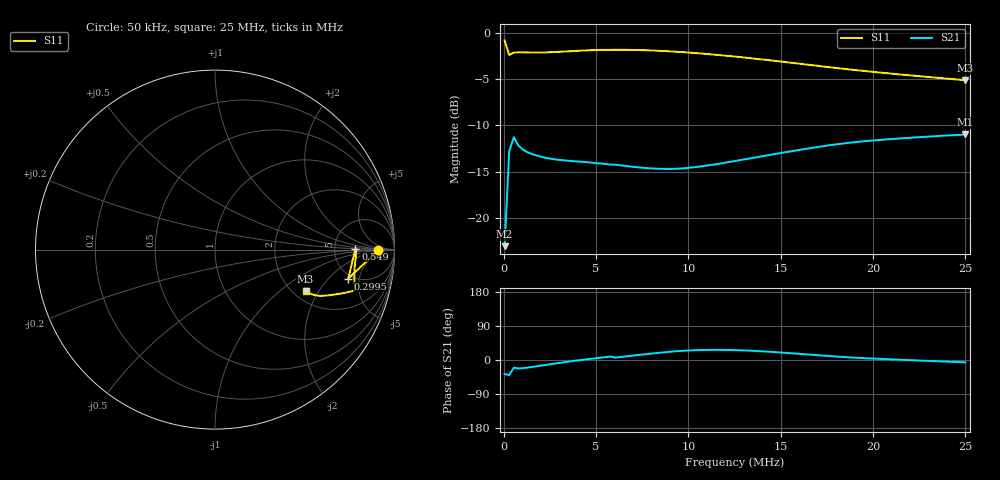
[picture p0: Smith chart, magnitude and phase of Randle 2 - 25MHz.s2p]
# Hz S RI R 50
!  Frequency  S11_Real  S11_Imag  S21_Real  S21_Imag  S12_Real  S12_Imag  S22_Real  S22_Imag
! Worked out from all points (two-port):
!   101 points, 50 kHz to 25 MHz, reference 50 ohm
!   highest |S21| = -10.99 dB at 25 MHz (marker M1); lowest = -23.1 dB at 50 kHz (marker M2)
!   |S21| within 3 dB of the highest: 270.6 kHz to 4.525 MHz (4.254 MHz wide, 177 % of centre); 12.14 MHz to end of sweep
!   lowest |S11| = -5.1 dB at 25 MHz (marker M3), VSWR 3.50, Z = 116 - j77.6 ohm
!   |S11| at or under -10 dB: nowhere
!   S12 and S22 are empty: the file has one direction only
!   S11 on the Smith chart (normalised r, x): 50 kHz: 21, -1; 299.5 kHz: 4.58, -3.50; 549 kHz: 8.20, +0.23; 25 MHz: 2.31, -1.55
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50000  0.9108 -0.00264  0.056 -0.0423  0 0  0 0
299500  0.7426 -0.1612  0.1762 -0.1464  0 0  0 0
549000  0.7826 0.00535  0.2561 -0.0941  0 0  0 0
798500  0.7861 -0.00373  0.2275 -0.0933  0 0  0 0
1048000  0.785 -0.0248  0.2172 -0.0852  0 0  0 0
1547000  0.7818 -0.0641  0.2096 -0.0694  0 0  0 0
2295500  0.7767 -0.1138  0.2054 -0.0472  0 0  0 0
2794500  0.7765 -0.1415  0.2042 -0.0335  0 0  0 0
3792500  0.7775 -0.182  0.2021 -0.00873  0 0  0 0
4291500  0.7792 -0.1955  0.2006 0.00225  0 0  0 0
5788500  0.7797 -0.2203  0.1916 0.0307  0 0  0 0
6038000  0.7799 -0.2217  0.1925 0.0214  0 0  0 0
7285500  0.7754 -0.2284  0.1825 0.0426  0 0  0 0
8533000  0.7652 -0.2312  0.1732 0.0617  0 0  0 0
1.003e7  0.7465 -0.2355  0.1687 0.0791  0 0  0 0
1.12775e7  0.7265 -0.2401  0.1728 0.087  0 0  0 0
1.2525e7  0.704 -0.2448  0.1822 0.0889  0 0  0 0
1.4521e7  0.6634 -0.2507  0.2047 0.0801  0 0  0 0
1.67665e7  0.6171 -0.2561  0.2328 0.0561  0 0  0 0
1.87625e7  0.5791 -0.2573  0.2531 0.0301  0 0  0 0
2.1008e7  0.5471 -0.2511  0.2664 0.00771  0 0  0 0
2.5e7  0.5047 -0.2322  0.2806 -0.03  0 0  0 0
